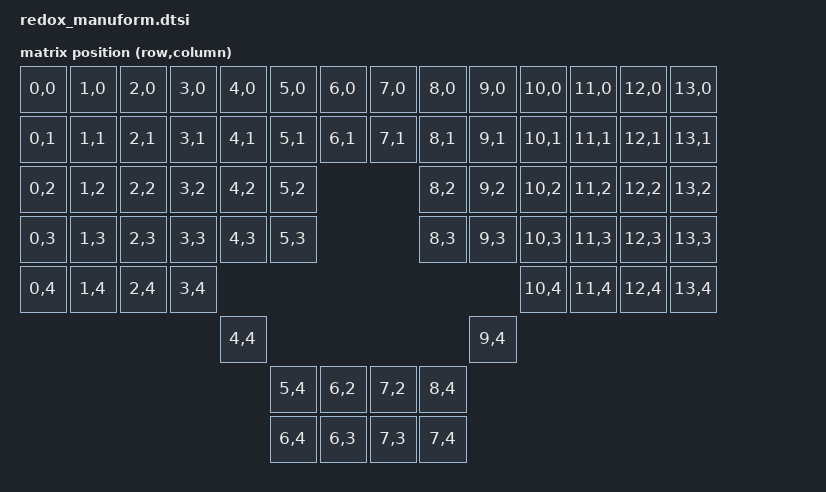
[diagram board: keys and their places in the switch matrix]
#include <dt-bindings/zmk/matrix_transform.h>

/ {
    chosen {
        zmk,kscan = &kscan0;
		zmk,matrix_transform = &default_transform;
    };

    default_transform: keymap_transform_0 {
		compatible = "zmk,matrix-transform";
		columns = <5>;
		rows = <14>;
// | SW7  | SW6  | SW5  | SW4  | SW3  | SW2  | SW1  |   | SW1  | SW2  | SW3  | SW4  | SW5  | SW6  | SW7  |
// | SW14 | SW13 | SW12 | SW11 | SW10 | SW9  | SW8  |   | SW8  | SW9  | S10  | SW11 | SW12 | SW13 | SW14 |
// | SW21 | SW20 | SW19 | SW18 | SW17 | SW16 |                 | SW16 | SW17 | SW18 | SW18 | SW20 | SW21 |
// | SW28 | SW27 | SW26 | SW25 | SW24 | SW23 |                 | SW23 | SW24 | SW25 | SW26 | SW27 | SW28 |
// | SW35 | SW34 | SW33 | SW32 |                                             | SW32 | SW33 | SW34 | SW35 |
//                             | SW31 |                               | SW31 |
//                                    | SW30 | SW15 |   | SW15 | SW30 |
//                                    | SW29 | SW22 |   | SW12 | SW22 |
		map = <
RC(0,0) RC(1,0) RC(2,0) RC(3,0) RC(4,0) RC(5,0) RC(6,0) RC(7,0) RC(8,0) RC(9,0) RC(10,0) RC(11,0) RC(12,0) RC(13,0)
RC(0,1) RC(1,1) RC(2,1) RC(3,1) RC(4,1) RC(5,1) RC(6,1) RC(7,1) RC(8,1) RC(9,1) RC(10,1) RC(11,1) RC(12,1) RC(13,1)
RC(0,2) RC(1,2) RC(2,2) RC(3,2) RC(4,2) RC(5,2)                 RC(8,2) RC(9,2) RC(10,2) RC(11,2) RC(12,2) RC(13,2)
RC(0,3) RC(1,3) RC(2,3) RC(3,3) RC(4,3) RC(5,3)                 RC(8,3) RC(9,3) RC(10,3) RC(11,3) RC(12,3) RC(13,3)
RC(0,4) RC(1,4) RC(2,4) RC(3,4)                                                 RC(10,4) RC(11,4) RC(12,4) RC(13,4)
                                RC(4,4)                                 RC(9,4)
                                        RC(5,4) RC(6,2) RC(7,2) RC(8,4)
                                        RC(6,4) RC(6,3) RC(7,3) RC(7,4)
		>;
	};

    kscan0: kscan {
        compatible = "zmk,kscan-gpio-matrix";
        label = "KSCAN";

    };
};
